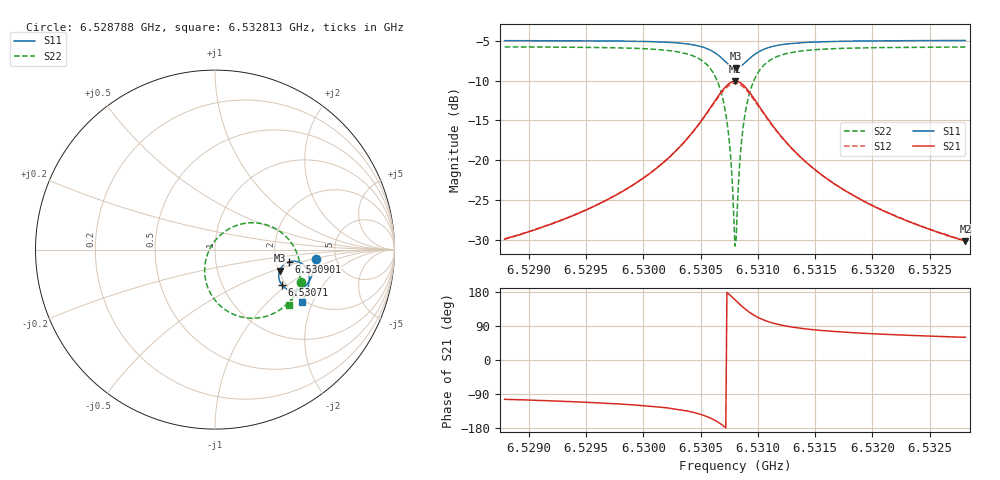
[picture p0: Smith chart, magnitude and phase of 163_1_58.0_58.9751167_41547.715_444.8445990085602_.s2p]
#  HZ  S  RI  R  50.00
! Rohde & Schwarz Vector Network Analyzer
! Rohde-Schwarz,ZNB20-2Port,1311601062101988,3.16
! Created: UTC 3/21/2024, 12:57:36 AM
! freq[Hz]  re:S11  im:S11  re:S21  im:S21  re:S12  im:S12  re:S22  im:S22
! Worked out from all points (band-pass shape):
!   401 points, 6.528788 GHz to 6.532813 GHz, reference 50 ohm
!   highest |S21| = -10.08 dB at 6.5308 GHz (marker M1); lowest = -30.2 dB at 6.532813 GHz (marker M2)
!   |S21| within 3 dB of the highest: 6.530601 GHz to 6.531004 GHz (403.8 kHz wide, 0.00618 % of centre)
!   lowest |S11| = -8.4 dB at 6.53081 GHz (marker M3), VSWR 2.22, Z = 101 - j27.6 ohm
!   |S11| at or under -10 dB: nowhere
!   |S22| runs from -30.8 to -5.8 dB; largest |S21 - S12| = 0.013
!   S11 on the Smith chart (normalised r, x): 6.528788 GHz: 3.49, -0.53; 6.53071 GHz: 1.90, -0.90; 6.530901 GHz: 2.36, -0.39; 6.532813 GHz: 1.95, -1.66
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6.5287879e9  0.5604 -0.052  -0.00743 -0.0309  -0.0081 -0.0309  0.4813 -0.1813
6.5294621e9  0.5511 -0.1087  -0.0171 -0.0439  -0.018 -0.0438  0.4492 -0.244
6.5301362e9  0.524 -0.1772  -0.0511 -0.0756  -0.0535 -0.0742  0.3655 -0.333
6.5303676e9  0.4973 -0.2077  -0.0916 -0.0956  -0.0945 -0.0924  0.2832 -0.3721
6.5305387e9  0.4533 -0.2276  -0.1608 -0.1025  -0.1634 -0.0957  0.1554 -0.3771
6.5306393e9  0.4079 -0.223  -0.2316 -0.0763  -0.2307 -0.0664  0.0367 -0.3195
6.5307098e9  0.3719 -0.1959  -0.284 -0.0176  -0.2782 -0.00705  -0.0405 -0.2103
6.53075e9  0.3578 -0.1678  -0.301 0.036  -0.2918 0.0446  -0.0577 -0.1186
6.5307903e9  0.3558 -0.1339  -0.2971 0.0975  -0.2858 0.1025  -0.0391 -0.0187
6.5308003e9  0.3576 -0.1252  -0.2922 0.1127  -0.2808 0.1166  -0.0282 0.00539
6.5308104e9  0.3602 -0.1169  -0.286 0.1273  -0.2745 0.1303  -0.0152 0.0281
6.5308204e9  0.3637 -0.1088  -0.2783 0.1411  -0.2669 0.1431  1.71e-05 0.0494
6.5308406e9  0.3732 -0.0944  -0.2593 0.166  -0.2486 0.1661  0.036 0.0862
6.5308607e9  0.385 -0.0825  -0.2369 0.1862  -0.2271 0.1848  0.0767 0.1148
6.5309009e9  0.4121 -0.0678  -0.1871 0.2106  -0.18 0.2076  0.163 0.146
6.5309714e9  0.4564 -0.0663  -0.11 0.2139  -0.1061 0.2108  0.293 0.1359
6.531072e9  0.4955 -0.0878  -0.0429 0.183  -0.0411 0.1812  0.401 0.0673
6.5312229e9  0.5187 -0.1239  -0.00221 0.1356  -0.000882 0.1349  0.4604 -0.0303
6.5314745e9  0.525 -0.1676  0.0153 0.0886  0.0165 0.0882  0.4752 -0.1296
6.5317562e9  0.5204 -0.202  0.0185 0.0619  0.0194 0.0617  0.4661 -0.1922
6.5321486e9  0.5088 -0.239  0.0178 0.0426  0.0187 0.0423  0.4466 -0.2468
6.5328127e9  0.4845 -0.29  0.0154 0.0267  0.0161 0.0265  0.4121 -0.3066
